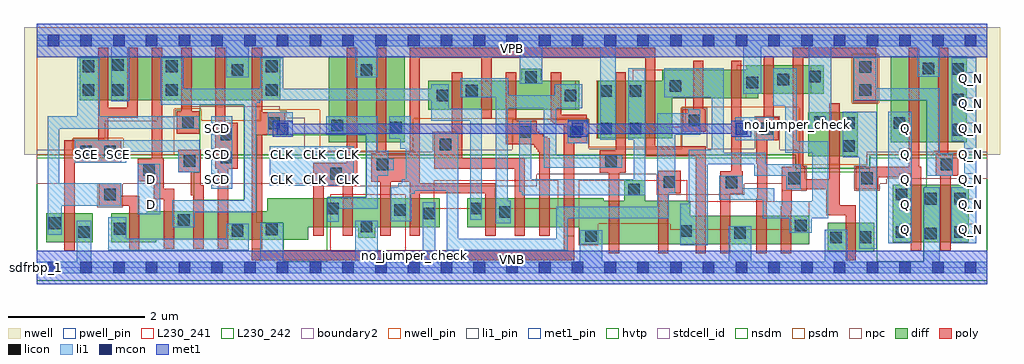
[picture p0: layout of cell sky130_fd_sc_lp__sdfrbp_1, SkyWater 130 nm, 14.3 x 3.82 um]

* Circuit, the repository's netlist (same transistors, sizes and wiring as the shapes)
* Copyright 2020 The SkyWater PDK Authors
*
* Licensed under the Apache License, Version 2.0 (the "License");
* you may not use this file except in compliance with the License.
* You may obtain a copy of the License at
*
*     https://www.apache.org/licenses/LICENSE-2.0
*
* Unless required by applicable law or agreed to in writing, software
* distributed under the License is distributed on an "AS IS" BASIS,
* WITHOUT WARRANTIES OR CONDITIONS OF ANY KIND, either express or implied.
* See the License for the specific language governing permissions and
* limitations under the License.
*
* SPDX-License-Identifier: Apache-2.0

.SUBCKT sky130_fd_sc_lp__sdfrbp_1 CLK D RESET_B SCD SCE VGND VNB VPB VPWR Q Q_N
*.PININFO CLK:I D:I RESET_B:I SCD:I SCE:I VGND:I VNB:I VPB:I VPWR:I
*.PININFO Q:O Q_N:O
MI642 clkneg CLK VGND VNB sky130_fd_pr__nfet_01v8 m=2 w=0.42U l=0.15U mult=1 sa=0.265
+ sb=0.265 sd=0.28 area=0.063 perim=1.14
MI636 clkpos clkneg VGND VNB sky130_fd_pr__nfet_01v8 m=2 w=0.42U l=0.15U mult=1
+ sa=0.265 sb=0.265 sd=0.28 area=0.063 perim=1.14
MI651 Q_N s0 VGND VNB sky130_fd_pr__nfet_01v8 m=1 w=0.84U l=0.15U mult=1 sa=0.265
+ sb=0.265 sd=0.28 area=0.063 perim=1.14
MI42 db clkneg M0 VNB sky130_fd_pr__nfet_01v8 m=1 w=0.42U l=0.15U mult=1 sa=0.265
+ sb=0.265 sd=0.28 area=0.063 perim=1.14
MI656 net100 s0 net134 VNB sky130_fd_pr__nfet_01v8 m=1 w=0.42U l=0.15U mult=1 sa=0.265
+ sb=0.265 sd=0.28 area=0.063 perim=1.14
MI657 net134 RESET_B VGND VNB sky130_fd_pr__nfet_01v8 m=1 w=0.42U l=0.15U mult=1
+ sa=0.265 sb=0.265 sd=0.28 area=0.063 perim=1.14
MI33 net127 RESET_B VGND VNB sky130_fd_pr__nfet_01v8 m=1 w=0.42U l=0.15U mult=1
+ sa=0.265 sb=0.265 sd=0.28 area=0.063 perim=1.14
MI634 sceb SCE VGND VNB sky130_fd_pr__nfet_01v8 m=1 w=0.42U l=0.15U mult=1 sa=0.265
+ sb=0.265 sd=0.28 area=0.063 perim=1.14
MI4 M0 clkpos net115 VNB sky130_fd_pr__nfet_01v8 m=1 w=0.42U l=0.15U mult=1 sa=0.265
+ sb=0.265 sd=0.28 area=0.063 perim=1.14
MI34 net115 M1 net127 VNB sky130_fd_pr__nfet_01v8 m=1 w=0.42U l=0.15U mult=1 sa=0.265
+ sb=0.265 sd=0.28 area=0.063 perim=1.14
MI655 s0 clkneg net99 VNB sky130_fd_pr__nfet_01v8 m=1 w=0.42U l=0.15U mult=1 sa=0.265
+ sb=0.265 sd=0.28 area=0.063 perim=1.14
MI652 net187 s0 VGND VNB sky130_fd_pr__nfet_01v8 m=1 w=0.42U l=0.15U mult=1 sa=0.265
+ sb=0.265 sd=0.28 area=0.063 perim=1.14
MI653 Q net187 VGND VNB sky130_fd_pr__nfet_01v8 m=1 w=0.84U l=0.15U mult=1 sa=0.265
+ sb=0.265 sd=0.28 area=0.063 perim=1.14
MI654 net99 net100 VGND VNB sky130_fd_pr__nfet_01v8 m=1 w=0.42U l=0.15U mult=1
+ sa=0.265 sb=0.265 sd=0.28 area=0.063 perim=1.14
MI647 M1 M0 VGND VNB sky130_fd_pr__nfet_01v8 m=1 w=0.64U l=0.15U mult=1 sa=0.265
+ sb=0.265 sd=0.28 area=0.063 perim=1.14
MI649 M1 clkpos s0 VNB sky130_fd_pr__nfet_01v8 m=1 w=0.64U l=0.15U mult=1 sa=0.265
+ sb=0.265 sd=0.28 area=0.063 perim=1.14
MI666 net146 RESET_B VGND VNB sky130_fd_pr__nfet_01v8 m=1 w=0.42U l=0.15U mult=1
+ sa=0.265 sb=0.265 sd=0.28 area=0.525 perim=3.1
MI98 db D n0 VNB sky130_fd_pr__nfet_01v8 m=1 w=0.42U l=0.15U mult=1 sa=0.265 sb=0.265
+ sd=0.28 area=0.525 perim=3.1
MI103 n1 SCD net146 VNB sky130_fd_pr__nfet_01v8 m=1 w=0.42U l=0.15U mult=1 sa=0.265
+ sb=0.265 sd=0.28 area=0.525 perim=3.1
MI120 db SCE n1 VNB sky130_fd_pr__nfet_01v8 m=1 w=0.42U l=0.15U mult=1 sa=0.265
+ sb=0.265 sd=0.28 area=0.525 perim=3.1
MI104 n0 sceb net146 VNB sky130_fd_pr__nfet_01v8 m=1 w=0.42U l=0.15U mult=1 sa=0.265
+ sb=0.265 sd=0.28 area=0.525 perim=3.1
MI643 clkneg CLK VPWR VPB sky130_fd_pr__pfet_01v8_hvt m=1 w=1.26U l=0.15U mult=1
+ sa=0.265 sb=0.265 sd=0.28 area=0.063 perim=1.14
MI635 clkpos clkneg VPWR VPB sky130_fd_pr__pfet_01v8_hvt m=1 w=1.26U l=0.15U mult=1
+ sa=0.265 sb=0.265 sd=0.28 area=0.063 perim=1.14
MI43 db clkpos M0 VPB sky130_fd_pr__pfet_01v8_hvt m=1 w=0.42U l=0.15U mult=1 sa=0.265
+ sb=0.265 sd=0.28 area=0.063 perim=1.14
MI662 net215 net100 VPWR VPB sky130_fd_pr__pfet_01v8_hvt m=1 w=0.42U l=0.15U mult=1
+ sa=0.265 sb=0.265 sd=0.28 area=0.063 perim=1.14
MI659 net100 RESET_B VPWR VPB sky130_fd_pr__pfet_01v8_hvt m=1 w=0.42U l=0.15U mult=1
+ sa=0.265 sb=0.265 sd=0.28 area=0.063 perim=1.14
MI664 s0 clkpos net215 VPB sky130_fd_pr__pfet_01v8_hvt m=1 w=0.42U l=0.15U mult=1
+ sa=0.265 sb=0.265 sd=0.28 area=0.063 perim=1.14
MI658 net100 s0 VPWR VPB sky130_fd_pr__pfet_01v8_hvt m=1 w=0.42U l=0.15U mult=1
+ sa=0.265 sb=0.265 sd=0.28 area=0.063 perim=1.14
MI30 net194 M1 VPWR VPB sky130_fd_pr__pfet_01v8_hvt m=1 w=0.42U l=0.15U mult=1
+ sa=0.265 sb=0.265 sd=0.28 area=0.063 perim=1.14
MI31 M0 clkneg net194 VPB sky130_fd_pr__pfet_01v8_hvt m=1 w=0.42U l=0.15U mult=1
+ sa=0.265 sb=0.265 sd=0.28 area=0.063 perim=1.14
MI32 M0 RESET_B VPWR VPB sky130_fd_pr__pfet_01v8_hvt m=1 w=0.42U l=0.15U mult=1
+ sa=0.265 sb=0.265 sd=0.28 area=0.063 perim=1.14
MI663 net187 s0 VPWR VPB sky130_fd_pr__pfet_01v8_hvt m=1 w=0.64U l=0.15U mult=1
+ sa=0.265 sb=0.265 sd=0.28 area=0.063 perim=1.14
MI660 Q net187 VPWR VPB sky130_fd_pr__pfet_01v8_hvt m=1 w=1.26U l=0.15U mult=1
+ sa=0.265 sb=0.265 sd=0.28 area=0.063 perim=1.14
MI661 Q_N s0 VPWR VPB sky130_fd_pr__pfet_01v8_hvt m=1 w=1.26U l=0.15U mult=1 sa=0.265
+ sb=0.265 sd=0.28 area=0.063 perim=1.14
MI648 M1 M0 VPWR VPB sky130_fd_pr__pfet_01v8_hvt m=1 w=0.84U l=0.15U mult=1 sa=0.265
+ sb=0.265 sd=0.28 area=0.063 perim=1.14
MI650 M1 clkneg s0 VPB sky130_fd_pr__pfet_01v8_hvt m=1 w=0.84U l=0.15U mult=1 sa=0.265
+ sb=0.265 sd=0.28 area=0.063 perim=1.14
MI633 sceb SCE VPWR VPB sky130_fd_pr__pfet_01v8_hvt m=1 w=0.64U l=0.15U mult=1
+ sa=0.265 sb=0.265 sd=0.28 area=0.063 perim=1.14
MI101 db sceb p1 VPB sky130_fd_pr__pfet_01v8_hvt m=1 w=0.64U l=0.15U mult=1 sa=0.265
+ sb=0.265 sd=0.28 area=0.063 perim=1.14
MI107 p0 SCE VPWR VPB sky130_fd_pr__pfet_01v8_hvt m=1 w=0.64U l=0.15U mult=1 sa=0.265
+ sb=0.265 sd=0.28 area=0.063 perim=1.14
MI94 db D p0 VPB sky130_fd_pr__pfet_01v8_hvt m=1 w=0.64U l=0.15U mult=1 sa=0.265
+ sb=0.265 sd=0.28 area=0.063 perim=1.14
MI108 p1 SCD VPWR VPB sky130_fd_pr__pfet_01v8_hvt m=1 w=0.64U l=0.15U mult=1 sa=0.265
+ sb=0.265 sd=0.28 area=0.063 perim=1.14
MI665 db RESET_B VPWR VPB sky130_fd_pr__pfet_01v8_hvt m=1 w=0.64U l=0.15U mult=1
+ sa=0.265 sb=0.265 sd=0.28 area=0.063 perim=1.14
.ENDS sky130_fd_sc_lp__sdfrbp_1

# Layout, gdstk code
import gdstk
lib = gdstk.Library(unit=1e-6, precision=1e-09)
def R(c, l, rs):  # rectangles x0, y0, x1, y1
    for r in rs: c.add(gdstk.rectangle(r[:2], r[2:], *l))
def A(c, l, x, y, w, h, nx, ny, dx, dy):  # array of equal rectangles
    R(c, l, [(x+i*dx, y+j*dy, x+i*dx+w, y+j*dy+h) for i in range(nx) for j in range(ny)])
def P(c, l, *ps):  # polygons
    for p in ps: c.add(gdstk.Polygon(p, *l))
nwell_pin = (64, 16)
nwell = (64, 20)
diff = (65, 20)
poly = (66, 20)
licon = (66, 44)
li1_pin = (67, 16)
li1 = (67, 20)
mcon = (67, 44)
met1_pin = (68, 16)
met1 = (68, 20)
hvtp = (78, 44)
stdcell_id = (81, 4)
nsdm = (93, 44)
psdm = (94, 20)
npc = (95, 20)
pwell_pin = (122, 16)
L230_241 = (230, 241)
L230_242 = (230, 242)
boundary2 = (236, 0)

sky130_fd_sc_lp__sdfrbp_ = lib.new_cell('sky130_fd_sc_lp__sdfrbp_1')
R(sky130_fd_sc_lp__sdfrbp_, nwell_pin, [(0,3.085,13.92,3.33)])
P(sky130_fd_sc_lp__sdfrbp_, nwell, [(14.11,3.52),(-0.19,3.52),(-0.19,1.655),(11.12,1.655),(11.12,1.455),(12.205,1.455),(12.205,1.655),(14.11,1.655)])
R(sky130_fd_sc_lp__sdfrbp_, diff, [(11.585,0.235,12.265,0.655), (0.135,0.375,0.815,0.795), (12.54,0.375,13.65,1.215), (11.3,1.635,12.025,2.275), (4.275,1.835,5.385,3.095), (12.51,1.835,13.62,3.095), (0.63,2.455,3.565,3.095)])
P(sky130_fd_sc_lp__sdfrbp_, diff, [(5.905,1.015),(3.375,1.015),(3.375,0.825),(1.61,0.825),(1.61,0.795),(1.085,0.795),(1.085,0.375),(1.75,0.375),(1.75,0.405),(3.975,0.405),(3.975,0.595),(4.705,0.595),(4.705,0.44),(4.955,0.44),(4.955,0.595),(5.905,0.595)],
  [(7.945,2.735),(7.385,2.735),(7.385,2.915),(7.095,2.915),(7.095,2.735),(5.735,2.735),(5.735,2.315),(7.945,2.315)],
  [(11.315,0.76),(9.575,0.76),(9.575,0.98),(8.915,0.98),(8.915,1.28),(8.605,1.28),(8.605,0.98),(8.305,0.98),(8.305,1.015),(6.305,1.015),(6.305,0.595),(7.945,0.595),(7.945,0.34),(11.315,0.34)],
  [(11.525,2.965),(10.395,2.965),(10.395,2.9),(9.16,2.9),(9.16,2.735),(8.215,2.735),(8.215,1.895),(9.31,1.895),(9.31,2.48),(10.57,2.48),(10.57,2.545),(11.525,2.545)])
P(sky130_fd_sc_lp__sdfrbp_, poly, [(1.475,3.225),(1.325,3.225),(1.325,2.345),(1.045,2.345),(1.045,3.225),(0.895,3.225),(0.895,1.865),(0.4,1.865),(0.4,0.245),(0.55,0.245),(0.55,1.535),(1.235,1.535),(1.235,1.865),(1.045,1.865),(1.045,2.195),(1.475,2.195)],
  [(1.5,1.055),(1.235,1.055),(1.235,1.235),(0.905,1.235),(0.905,0.905),(1.35,0.905),(1.35,0.245),(1.5,0.245)],
  [(2.01,1.155),(1.86,1.155),(1.86,1.595),(1.835,1.595),(1.835,3.225),(1.685,3.225),(1.685,1.595),(1.475,1.595),(1.475,1.265),(1.71,1.265),(1.71,1.005),(1.86,1.005),(1.86,0.275),(2.01,0.275)],
  [(2.375,2.295),(2.265,2.295),(2.265,3.225),(2.115,3.225),(2.115,2.295),(2.045,2.295),(2.045,1.965),(2.375,1.965)],
  [(2.44,1.21),(2.4,1.21),(2.4,1.725),(2.07,1.725),(2.07,1.395),(2.25,1.395),(2.25,1.06),(2.29,1.06),(2.29,0.275),(2.44,0.275)],
  [(2.94,2.12),(2.76,2.12),(2.76,3.225),(2.61,3.225),(2.61,1.45),(2.65,1.45),(2.65,0.275),(2.8,0.275),(2.8,1.45),(2.94,1.45)],
  [(9.8,2.32),(9.765,2.32),(9.765,3.03),(9.615,3.03),(9.615,2.32),(9.46,2.32),(9.46,1.99),(9.8,1.99)],
  [(10.865,2.2),(10.795,2.2),(10.795,3.095),(10.645,3.095),(10.645,2.2),(10.535,2.2),(10.535,1.87),(10.54,1.87),(10.54,1.52),(10.55,1.52),(10.55,1.02),(10.54,1.02),(10.54,0.21),(10.69,0.21),(10.69,0.965),(10.7,0.965),(10.7,1.87),(10.865,1.87)],
  [(4.69,3.225),(4.54,3.225),(4.54,1.54),(4.05,1.54),(4.05,0.465),(4.2,0.465),(4.2,1.21),(4.48,1.21),(4.48,0.465),(4.63,0.465),(4.63,1.21),(4.69,1.21)],
  [(9.43,1.42),(9.1,1.42),(9.1,0.21),(9.25,0.21),(9.25,1.09),(9.43,1.09)],
  [(9.8,1.78),(9.06,1.78),(9.06,3.225),(5.46,3.225),(5.46,1.675),(5.12,1.675),(5.12,3.225),(4.97,3.225),(4.97,1.675),(4.9,1.675),(4.9,1.26),(5.03,1.26),(5.03,0.465),(5.18,0.465),(5.18,1.26),(5.46,1.26),(5.46,0.465),(5.61,0.465),(5.61,1.09),(6.57,1.09),(6.57,0.465),(6.72,0.465),(6.72,1.24),(5.61,1.24),(5.61,3.075),(6.51,3.075),(6.51,2.185),(6.66,2.185),(6.66,3.075),(8.91,3.075),(8.91,1.63),(9.65,1.63),(9.65,0.21),(9.8,0.21)],
  [(10.34,1.415),(10.32,1.415),(10.32,3.03),(10.17,3.03),(10.17,1.415),(10.01,1.415),(10.01,0.21),(10.16,0.21),(10.16,1.085),(10.34,1.085)],
  [(12.3,3.225),(11.075,3.225),(11.075,1.475),(10.91,1.475),(10.91,0.9),(10.9,0.9),(10.9,0.21),(11.05,0.21),(11.05,0.835),(11.06,0.835),(11.06,1.145),(11.565,1.145),(11.565,0.765),(11.85,0.765),(11.85,0.105),(12,0.105),(12,0.915),(11.76,0.915),(11.76,2.405),(11.61,2.405),(11.61,1.295),(11.26,1.295),(11.26,1.475),(11.225,1.475),(11.225,3.075),(11.97,3.075),(11.97,2.435),(12.3,2.435)],
  [(13.495,1.675),(13.355,1.675),(13.355,3.225),(13.205,3.225),(13.205,1.675),(13.165,1.675),(13.165,1.345),(13.235,1.345),(13.235,0.245),(13.385,0.245),(13.385,1.345),(13.495,1.345)],
  [(12.955,1.475),(12.925,1.475),(12.925,3.225),(12.775,3.225),(12.775,1.475),(11.995,1.475),(11.995,1.145),(12.325,1.145),(12.325,1.325),(12.805,1.325),(12.805,0.245),(12.955,0.245)],
  [(7.15,1.6),(6.23,1.6),(6.23,2.865),(6.08,2.865),(6.08,1.97),(5.82,1.97),(5.82,1.45),(7,1.45),(7,0.465),(7.15,0.465)],
  [(7.51,1.895),(7.475,1.895),(7.475,1.915),(7.42,1.915),(7.42,1.96),(7.36,1.96),(7.36,1.99),(7.32,1.99),(7.32,2.155),(7.02,2.155),(7.02,2.865),(6.87,2.865),(6.87,1.81),(7.23,1.81),(7.23,1.8),(7.285,1.8),(7.285,1.765),(7.315,1.765),(7.315,1.735),(7.34,1.735),(7.34,1.695),(7.36,1.695),(7.36,0.465),(7.51,0.465)],
  [(8.055,2.24),(7.68,2.24),(7.68,2.865),(7.53,2.865),(7.53,2.145),(7.55,2.145),(7.55,2.13),(7.575,2.13),(7.575,2.11),(7.595,2.11),(7.595,2.09),(7.72,2.09),(7.72,0.255),(3.3,0.255),(3.3,1.95),(3.64,1.95),(3.64,2.28),(3.3,2.28),(3.3,3.225),(3.15,3.225),(3.15,0.105),(7.87,0.105),(7.87,1.82),(8.055,1.82)],
  [(8.63,2.865),(8.48,2.865),(8.48,1.72),(8.245,1.72),(8.245,1.39),(8.38,1.39),(8.38,0.21),(8.53,0.21),(8.53,1.39),(8.63,1.39)])
A(sky130_fd_sc_lp__sdfrbp_, licon, 13.41, 1.935, 0.17, 0.17, 1, 3, 0, 0.445)
R(sky130_fd_sc_lp__sdfrbp_, licon, [(11.625,0.355,11.795,0.525), (12.055,0.36,12.225,0.53), (8.03,0.38,8.2,0.55), (13.01,0.415,13.18,0.585), (10.215,0.42,10.385,0.59), (0.605,0.435,0.775,0.605), (12.58,0.435,12.75,0.605), (13.44,0.435,13.61,0.605), (9.425,0.45,9.595,0.62), (2.855,0.455,3.025,0.625), (3.355,0.475,3.525,0.645), (1.125,0.485,1.295,0.655), (4.745,0.52,4.915,0.69), (11.105,0.53,11.275,0.7), (0.175,0.565,0.345,0.735), (2.065,0.615,2.235,0.785), (5.665,0.71,5.835,0.88), (6.775,0.73,6.945,0.9), (5.235,0.76,5.405,0.93), (4.255,0.78,4.425,0.95), (6.345,0.78,6.515,0.95), (13.01,0.925,13.18,1.095), (13.44,0.925,13.61,1.095), (0.985,0.985,1.155,1.155), (12.58,0.985,12.75,1.155), (8.665,1.06,8.835,1.23), (10.09,1.165,10.26,1.335), (9.18,1.17,9.35,1.34), (11.01,1.225,11.18,1.395), (12.075,1.225,12.245,1.395), (4.295,1.29,4.465,1.46), (1.555,1.345,1.725,1.515), (4.98,1.425,5.15,1.595), (13.245,1.425,13.415,1.595), (8.325,1.47,8.495,1.64), (2.15,1.475,2.32,1.645), (2.69,1.53,2.86,1.7), (0.635,1.615,0.805,1.785), (0.985,1.615,1.155,1.785), (11.815,1.695,11.985,1.865), (5.9,1.72,6.07,1.89), (2.69,1.87,2.86,2.04), (7.065,1.905,7.235,2.075), (7.805,1.905,7.975,2.075), (10.615,1.95,10.785,2.12), (8.255,1.955,8.425,2.125), (8.685,1.955,8.855,2.125), (5.175,1.965,5.345,2.135), (4.315,1.995,4.485,2.165), (3.39,2.03,3.56,2.2), (11.815,2.035,11.985,2.205), (12.55,2.035,12.72,2.205), (2.125,2.045,2.295,2.215), (11.385,2.045,11.555,2.215), (9.55,2.07,9.72,2.24), (5.855,2.435,6.025,2.605), (7.735,2.435,7.905,2.605), (8.255,2.505,8.425,2.675), (8.685,2.505,8.855,2.675), (6.285,2.51,6.455,2.68), (0.67,2.515,0.84,2.685), (1.1,2.515,1.27,2.685), (1.89,2.515,2.06,2.685), (3.355,2.515,3.525,2.685), (12.05,2.515,12.22,2.685), (9.27,2.575,9.44,2.745), (10.395,2.625,10.565,2.795), (10.85,2.67,11.02,2.84), (7.155,2.705,7.325,2.875), (11.315,2.715,11.485,2.885), (2.855,2.81,3.025,2.98), (4.745,2.81,4.915,2.98), (12.98,2.835,13.15,3.005), (12.05,2.855,12.22,3.025), (0.67,2.865,0.84,3.035), (1.89,2.865,2.06,3.035), (3.355,2.865,3.525,3.035), (1.1,2.885,1.27,3.055)])
A(sky130_fd_sc_lp__sdfrbp_, li1_pin, 12.635, 0.47, 0.17, 0.17, 1, 5, 0, 0.37)
A(sky130_fd_sc_lp__sdfrbp_, li1_pin, 13.595, 0.47, 0.17, 0.17, 1, 7, 0, 0.37)
A(sky130_fd_sc_lp__sdfrbp_, li1_pin, 1.595, 1.21, 0.17, 0.17, 3, 1, 0.96, 0)
A(sky130_fd_sc_lp__sdfrbp_, li1_pin, 3.515, 1.58, 0.17, 0.17, 3, 1, 0.48, 0)
R(sky130_fd_sc_lp__sdfrbp_, li1_pin, [(1.595,0.84,1.765,1.01), (3.995,1.21,4.165,1.38), (4.475,1.21,4.645,1.38), (0.635,1.58,0.805,1.75), (1.115,1.58,1.285,1.75), (2.555,1.58,2.725,1.75), (2.555,1.95,2.725,2.12)])
R(sky130_fd_sc_lp__sdfrbp_, li1, [(12.475,0.355,12.82,2.285), (1.475,0.78,1.805,1.525), (2.555,1.155,2.86,2.215), (3.41,1.2,4.645,1.78), (7.775,1.82,8.08,2.165), (10.23,1.87,10.795,2.2), (3.38,1.95,3.75,2.28)])
P(sky130_fd_sc_lp__sdfrbp_, li1, [(2.375,2.215),(0.92,2.215),(0.92,3.075),(0.59,3.075),(0.59,2.215),(0.155,2.215),(0.155,0.485),(0.365,0.485),(0.365,0.905),(1.235,0.905),(1.235,1.235),(0.325,1.235),(0.325,2.035),(2.375,2.035)],
  [(2.385,1.865),(0.555,1.865),(0.555,1.535),(1.305,1.535),(1.305,1.695),(2.07,1.695),(2.07,1.395),(2.385,1.395)],
  [(3.105,0.645),(2.775,0.645),(2.775,0.425),(1.305,0.425),(1.305,0.735),(1.045,0.735),(1.045,0.255),(3.105,0.255)],
  [(5.23,1.595),(5.15,1.595),(5.15,1.715),(4.995,1.715),(4.995,2.215),(4.235,2.215),(4.235,1.95),(4.825,1.95),(4.825,1.03),(4.255,1.03),(4.255,0.67),(4.425,0.67),(4.425,0.86),(4.995,0.86),(4.995,1.345),(5.15,1.345),(5.15,1.425),(5.23,1.425)],
  [(6.515,2.325),(6.035,2.325),(6.035,2.685),(5.775,2.685),(5.775,2.62),(3.605,2.62),(3.605,3.075),(3.275,3.075),(3.275,2.62),(2.14,2.62),(2.14,3.075),(1.81,3.075),(1.81,2.385),(3.04,2.385),(3.04,0.985),(1.985,0.985),(1.985,0.595),(2.315,0.595),(2.315,0.815),(3.21,0.815),(3.21,2.415),(3.275,2.415),(3.275,2.45),(5.775,2.45),(5.775,2.155),(6.345,2.155),(6.345,0.7),(6.515,0.7)],
  [(8.575,1.65),(7.605,1.65),(7.605,2.335),(7.99,2.335),(7.99,2.685),(7.585,2.685),(7.585,2.525),(6.905,2.525),(6.905,2.775),(6.205,2.775),(6.205,2.495),(6.725,2.495),(6.725,0.65),(6.945,0.65),(6.945,0.98),(6.895,0.98),(6.895,2.335),(7.425,2.335),(7.425,1.465),(8.575,1.465)],
  [(8.915,2.92),(8.66,2.92),(8.66,1.875),(8.745,1.875),(8.745,1.295),(7.245,1.295),(7.245,2.155),(7.065,2.155),(7.065,1.11),(7.105,1.11),(7.105,1.06),(8.915,1.06)],
  [(9.72,2.32),(9.54,2.32),(9.54,2.26),(9.085,2.26),(9.085,0.89),(7.61,0.89),(7.61,0.425),(6.175,0.425),(6.175,1.97),(5.48,1.97),(5.48,2.215),(5.165,2.215),(5.165,1.885),(5.32,1.885),(5.32,1.74),(5.4,1.74),(5.4,1.295),(5.345,1.295),(5.345,1.235),(5.29,1.235),(5.29,1.175),(5.185,1.175),(5.185,0.68),(5.485,0.68),(5.485,1.085),(5.535,1.085),(5.535,1.13),(6.005,1.13),(6.005,0.255),(7.78,0.255),(7.78,0.72),(9.255,0.72),(9.255,1.09),(9.35,1.09),(9.35,1.95),(9.72,1.95)],
  [(11.19,1.515),(10.68,1.515),(10.68,1.685),(10.06,1.685),(10.06,2.92),(9.19,2.92),(9.19,2.495),(9.89,2.495),(9.89,1.725),(9.55,1.725),(9.55,0.935),(9.425,0.935),(9.425,0.33),(9.83,0.33),(9.83,1.515),(10.51,1.515),(10.51,1.345),(10.975,1.345),(10.975,1.145),(11.19,1.145)],
  [(12.305,2.285),(11.805,2.285),(11.805,1.615),(12.045,1.615),(12.045,0.28),(12.305,0.28)],
  [(13.92,0.085),(13.225,0.085),(13.225,1.175),(12.99,1.175),(12.99,0.085),(11.875,0.085),(11.875,0.555),(11.545,0.555),(11.545,0.085),(10.465,0.085),(10.465,0.61),(10.135,0.61),(10.135,0.085),(8.28,0.085),(8.28,0.55),(7.95,0.55),(7.95,0.085),(5.835,0.085),(5.835,0.96),(5.655,0.96),(5.655,0.085),(4.995,0.085),(4.995,0.69),(4.665,0.69),(4.665,0.085),(3.605,0.085),(3.605,0.655),(3.275,0.655),(3.275,0.085),(0.795,0.085),(0.795,0.685),(0.585,0.685),(0.585,0.085),(0,0.085),(0,-0.085),(13.92,-0.085)],
  [(13.415,1.675),(13.23,1.675),(13.23,2.625),(12.3,2.625),(12.3,3.075),(11.97,3.075),(11.97,2.455),(13.04,2.455),(13.04,1.345),(13.415,1.345)],
  [(11.59,1.855),(11.135,1.855),(11.135,2.92),(10.79,2.92),(10.79,2.37),(10.965,2.37),(10.965,1.685),(11.36,1.685),(11.36,0.975),(10.805,0.975),(10.805,1.165),(10.34,1.165),(10.34,1.345),(10,1.345),(10,0.995),(10.635,0.995),(10.635,0.725),(11.025,0.725),(11.025,0.51),(11.355,0.51),(11.355,0.725),(11.59,0.725)],
  [(13.765,3.075),(13.4,3.075),(13.4,1.855),(13.585,1.855),(13.585,1.175),(13.395,1.175),(13.395,0.355),(13.765,0.355)],
  [(13.92,3.415),(0,3.415),(0,3.245),(1.09,3.245),(1.09,2.435),(1.35,2.435),(1.35,3.245),(2.775,3.245),(2.775,2.79),(3.105,2.79),(3.105,3.245),(4.665,3.245),(4.665,2.79),(4.995,2.79),(4.995,3.245),(7.075,3.245),(7.075,2.695),(7.405,2.695),(7.405,3.245),(8.25,3.245),(8.25,1.875),(8.48,1.875),(8.48,3.245),(10.35,3.245),(10.35,2.545),(10.61,2.545),(10.61,3.245),(11.305,3.245),(11.305,2.025),(11.635,2.025),(11.635,3.245),(12.9,3.245),(12.9,2.795),(13.23,2.795),(13.23,3.245),(13.92,3.245)])
A(sky130_fd_sc_lp__sdfrbp_, mcon, 0.155, -0.085, 0.17, 0.17, 29, 2, 0.48, 3.33)
R(sky130_fd_sc_lp__sdfrbp_, mcon, [(3.515,1.95,3.685,2.12), (7.835,1.95,8.005,2.12), (10.235,1.95,10.405,2.12)])
R(sky130_fd_sc_lp__sdfrbp_, met1_pin, [(0,0,13.92,0.245), (10.235,1.95,10.405,2.12), (0,3.085,13.92,3.33)])
R(sky130_fd_sc_lp__sdfrbp_, met1, [(0,-0.245,13.92,0.245), (0,3.085,13.92,3.575)])
P(sky130_fd_sc_lp__sdfrbp_, met1, [(3.745,2.105),(7.775,2.105),(7.775,2.15),(8.065,2.15),(8.065,2.105),(10.175,2.105),(10.175,2.15),(10.465,2.15),(10.465,1.92),(10.175,1.92),(10.175,1.965),(8.065,1.965),(8.065,1.92),(7.775,1.92),(7.775,1.965),(3.745,1.965),(3.745,1.92),(3.455,1.92),(3.455,2.15),(3.745,2.15)])
P(sky130_fd_sc_lp__sdfrbp_, hvtp, [(13.92,3.33),(0,3.33),(0,1.6),(11.12,1.6),(11.12,1.4),(12.2,1.4),(12.2,1.6),(13.92,1.6)])
R(sky130_fd_sc_lp__sdfrbp_, stdcell_id, [(0,0,13.92,3.33)])
P(sky130_fd_sc_lp__sdfrbp_, nsdm, [(13.92,1.655),(12.2,1.655),(12.2,1.455),(11.12,1.455),(11.12,1.655),(0,1.655),(0,-0.19),(13.92,-0.19)])
P(sky130_fd_sc_lp__sdfrbp_, psdm, [(13.92,3.52),(12.33,3.52),(12.33,2.405),(11.94,2.405),(11.94,3.135),(12.33,3.135),(12.33,3.52),(0,3.52),(0,1.655),(0.525,1.655),(0.525,1.895),(1.265,1.895),(1.265,1.655),(2.015,1.655),(2.015,2.325),(2.405,2.325),(2.405,2.15),(3.28,2.15),(3.28,2.31),(4.145,2.31),(4.145,1.705),(5.515,1.705),(5.515,2.185),(8.085,2.185),(8.085,1.765),(9.44,1.765),(9.44,2.35),(11.17,2.35),(11.17,1.505),(12.155,1.505),(12.155,1.655),(13.135,1.655),(13.135,1.705),(13.525,1.705),(13.525,1.655),(13.92,1.655)])
R(sky130_fd_sc_lp__sdfrbp_, npc, [(11.95,2.415,12.32,3.125)])
P(sky130_fd_sc_lp__sdfrbp_, npc, [(13.92,1.695),(12.16,1.695),(12.16,1.495),(11.975,1.495),(11.975,1.125),(12.345,1.125),(12.345,1.23),(12.45,1.23),(12.45,1.305),(13.92,1.305)],
  [(11.28,1.495),(11.16,1.495),(11.16,1.73),(10.885,1.73),(10.885,2.22),(10.515,2.22),(10.515,1.74),(9.82,1.74),(9.82,2.34),(9.45,2.34),(9.45,1.74),(8.085,1.74),(8.085,2.175),(6.965,2.175),(6.965,1.73),(6.17,1.73),(6.17,1.99),(5.8,1.99),(5.8,1.695),(3.925,1.695),(3.925,2.195),(3.66,2.195),(3.66,2.3),(3.555,2.3),(3.555,2.365),(2.13,2.365),(2.13,2.315),(2.025,2.315),(2.025,2.21),(1.76,2.21),(1.76,2.15),(0.99,2.15),(0.99,1.885),(0.535,1.885),(0.535,1.73),(0,1.73),(0,1.23),(0.885,1.23),(0.885,0.885),(1.255,0.885),(1.255,1.23),(4.145,1.23),(4.145,1.19),(7.325,1.19),(7.325,1.37),(9.08,1.37),(9.08,1.07),(9.98,1.07),(9.98,1.065),(10.36,1.065),(10.36,1.23),(10.91,1.23),(10.91,1.125),(11.28,1.125)])
R(sky130_fd_sc_lp__sdfrbp_, pwell_pin, [(0,0,13.92,0.245)])
R(sky130_fd_sc_lp__sdfrbp_, L230_241, [(4.295,0.235,5.405,1.075), (12.475,0.355,12.82,2.285), (1.475,0.78,1.805,1.525), (5.815,0.86,7.635,1.28), (2.555,1.155,2.86,2.215), (3.41,1.2,4.645,1.78), (4.275,1.835,5.385,3.095), (3.38,1.95,3.75,2.28)])
P(sky130_fd_sc_lp__sdfrbp_, L230_241, [(2.385,1.865),(0.555,1.865),(0.555,1.535),(1.305,1.535),(1.305,1.695),(2.07,1.695),(2.07,1.395),(2.385,1.395)],
  [(7.895,2.735),(7.385,2.735),(7.385,2.915),(7.095,2.915),(7.095,2.735),(5.735,2.735),(5.735,2.315),(7.895,2.315)],
  [(11.315,0.975),(9.53,0.975),(9.53,1.28),(7.935,1.28),(7.935,0.33),(8.225,0.33),(8.225,0.64),(9.28,0.64),(9.28,0.555),(11.315,0.555)],
  [(11.345,2.965),(10.25,2.965),(10.25,2.9),(8.73,2.9),(8.73,2.735),(8.205,2.735),(8.205,1.895),(8.98,1.895),(8.98,2.06),(9.505,2.06),(9.505,2.48),(10.39,2.48),(10.39,2.545),(11.345,2.545)])
P(sky130_fd_sc_lp__sdfrbp_, L230_242, [(3.04,2.385),(2.385,2.385),(2.385,1.395),(2.295,1.395),(2.295,0.985),(3.04,0.985)],
  [(13.04,2.455),(12.305,2.455),(12.305,0.085),(12.99,0.085),(12.99,1.175),(13.04,1.175)],
  [(4.825,1.95),(3.21,1.95),(3.21,0.655),(3.605,0.655),(3.605,0.085),(4.255,0.085),(4.255,1.03),(4.825,1.03)],
  [(7.87,0.465),(7.72,0.465),(7.72,0.255),(3.3,0.255),(3.3,0.275),(3.15,0.275),(3.15,0.105),(7.87,0.105)])
R(sky130_fd_sc_lp__sdfrbp_, boundary2, [(0,0,13.92,3.33)])
sky130_fd_sc_lp__sdfrbp_.add(gdstk.Label('VNB', (6.96,0.123), layer=64, texttype=59))
sky130_fd_sc_lp__sdfrbp_.add(gdstk.Label('VPB', (6.96,3.208), layer=64, texttype=5))
sky130_fd_sc_lp__sdfrbp_.add(gdstk.Label('sdfrbp_1', (0,0), layer=83, texttype=44))
sky130_fd_sc_lp__sdfrbp_.add(gdstk.Label('no_jumper_check', (7.385,3.15), layer=83, texttype=44))
sky130_fd_sc_lp__sdfrbp_.add(gdstk.Label('no_jumper_check', (5.53,0.18), layer=83, texttype=44))
sky130_fd_sc_lp__sdfrbp_.add(gdstk.Label('no_jumper_check', (11.15,2.09), layer=83, texttype=44))
sky130_fd_sc_lp__sdfrbp_.add(gdstk.Label('RESET_B', (10.32,2.035), layer=68, texttype=5))
sky130_fd_sc_lp__sdfrbp_.add(gdstk.Label('VPWR', (6.96,3.208), layer=68, texttype=5))
sky130_fd_sc_lp__sdfrbp_.add(gdstk.Label('VGND', (6.96,0.123), layer=68, texttype=5))
sky130_fd_sc_lp__sdfrbp_.add(gdstk.Label('SCE', (0.72,1.665), layer=67, texttype=5))
sky130_fd_sc_lp__sdfrbp_.add(gdstk.Label('SCE', (1.2,1.665), layer=67, texttype=5))
sky130_fd_sc_lp__sdfrbp_.add(gdstk.Label('CLK', (3.6,1.295), layer=67, texttype=5))
sky130_fd_sc_lp__sdfrbp_.add(gdstk.Label('CLK', (3.6,1.665), layer=67, texttype=5))
sky130_fd_sc_lp__sdfrbp_.add(gdstk.Label('CLK', (4.08,1.295), layer=67, texttype=5))
sky130_fd_sc_lp__sdfrbp_.add(gdstk.Label('CLK', (4.08,1.665), layer=67, texttype=5))
sky130_fd_sc_lp__sdfrbp_.add(gdstk.Label('CLK', (4.56,1.295), layer=67, texttype=5))
sky130_fd_sc_lp__sdfrbp_.add(gdstk.Label('CLK', (4.56,1.665), layer=67, texttype=5))
sky130_fd_sc_lp__sdfrbp_.add(gdstk.Label('SCD', (2.64,1.295), layer=67, texttype=5))
sky130_fd_sc_lp__sdfrbp_.add(gdstk.Label('SCD', (2.64,1.665), layer=67, texttype=5))
sky130_fd_sc_lp__sdfrbp_.add(gdstk.Label('SCD', (2.64,2.035), layer=67, texttype=5))
sky130_fd_sc_lp__sdfrbp_.add(gdstk.Label('D', (1.68,0.925), layer=67, texttype=5))
sky130_fd_sc_lp__sdfrbp_.add(gdstk.Label('D', (1.68,1.295), layer=67, texttype=5))
sky130_fd_sc_lp__sdfrbp_.add(gdstk.Label('Q', (12.72,0.555), layer=67, texttype=5))
sky130_fd_sc_lp__sdfrbp_.add(gdstk.Label('Q', (12.72,0.925), layer=67, texttype=5))
sky130_fd_sc_lp__sdfrbp_.add(gdstk.Label('Q', (12.72,1.295), layer=67, texttype=5))
sky130_fd_sc_lp__sdfrbp_.add(gdstk.Label('Q', (12.72,1.665), layer=67, texttype=5))
sky130_fd_sc_lp__sdfrbp_.add(gdstk.Label('Q', (12.72,2.035), layer=67, texttype=5))
sky130_fd_sc_lp__sdfrbp_.add(gdstk.Label('Q_N', (13.68,0.555), layer=67, texttype=5))
sky130_fd_sc_lp__sdfrbp_.add(gdstk.Label('Q_N', (13.68,0.925), layer=67, texttype=5))
sky130_fd_sc_lp__sdfrbp_.add(gdstk.Label('Q_N', (13.68,1.295), layer=67, texttype=5))
sky130_fd_sc_lp__sdfrbp_.add(gdstk.Label('Q_N', (13.68,1.665), layer=67, texttype=5))
sky130_fd_sc_lp__sdfrbp_.add(gdstk.Label('Q_N', (13.68,2.035), layer=67, texttype=5))
sky130_fd_sc_lp__sdfrbp_.add(gdstk.Label('Q_N', (13.68,2.405), layer=67, texttype=5))
sky130_fd_sc_lp__sdfrbp_.add(gdstk.Label('Q_N', (13.68,2.775), layer=67, texttype=5))

lib.write_gds('sky130_fd_sc_lp__sdfrbp_1.gds')
